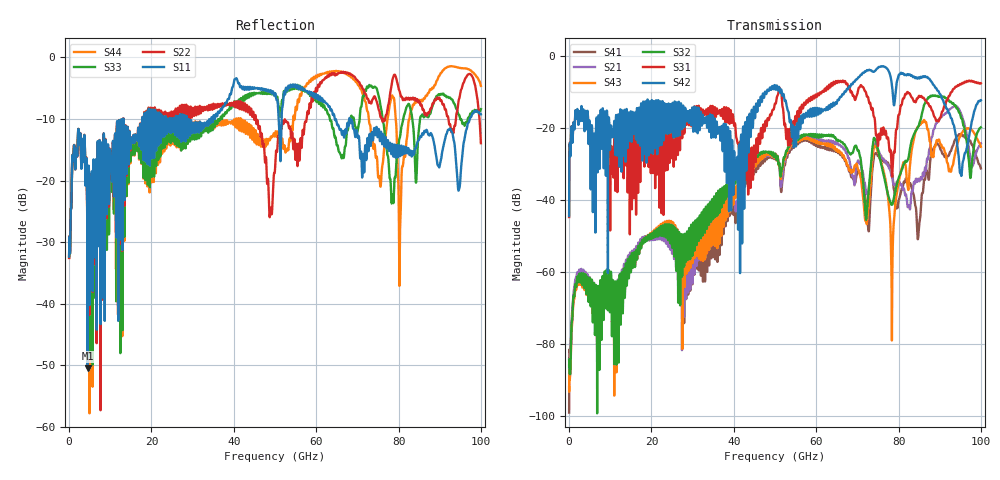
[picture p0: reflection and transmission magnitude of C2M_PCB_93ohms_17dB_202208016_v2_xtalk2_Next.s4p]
! Info: Touchstone file created by Circ.  Input file=Intel_C2M_200G_5p5in_202208016_staggered.circ
# Hz S RI R 50
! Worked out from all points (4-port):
!   10000 points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, 10 MHz to 100 GHz, reference 50 ohm
!   strongest paths, dB at 10 MHz, 25.01 GHz, 50.01 GHz, 75.01 GHz, 100 GHz:
!     S42: -44.5, -16.2, -8.6, -3.4, -12.4
!     S31: -44.8, -20.0, -13.3, -25.1, -7.7
!     S32: -84.3, -53.0, -27.3, -26.1, -19.9
!     S43: -91.9, -49.2, -27.5, -26.8, -25.3
!     S21: -85.9, -55.0, -27.5, -26.0, -24.4
!     S41: -99.1, -50.9, -27.8, -27.9, -31.3
!   lowest |S11| = -50.4 dB at 4.5 GHz (marker M1), VSWR 1.01, Z = 50.3 + j0.165 ohm
!   |S11| at or under -10 dB: start of sweep to 13.18 GHz; 28.62 GHz to 34.52 GHz (5.896 GHz wide, 18.7 % of centre); 68.21 GHz to 97.28 GHz (29.08 GHz wide, 35.1 % of centre)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
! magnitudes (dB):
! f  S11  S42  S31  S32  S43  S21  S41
! 10 MHz  -32.3  -44.5  -44.8  -84.3  -91.9  -85.9  -99.1
! 4.5 GHz  -50.4  -15.4  -16.4  -61.4  -63.9  -60.7  -62.8
! 56.66 GHz  -5.1  -18.7  -13.9  -22.5  -23.3  -22.6  -23.7
! 74.52 GHz  -11.9  -3.9  -22.1  -23.7  -25.2  -24.6  -27.1
! 78.43 GHz  -14.4  -8.5  -33.6  -41.4  -68.9  -33.7  -32.8
! 85.23 GHz  -12.8  -6.1  -11.4  -18.2  -19.0  -34.4  -45.2
! 100 GHz  -9.2  -12.4  -7.7  -19.9  -25.3  -24.4  -31.3
